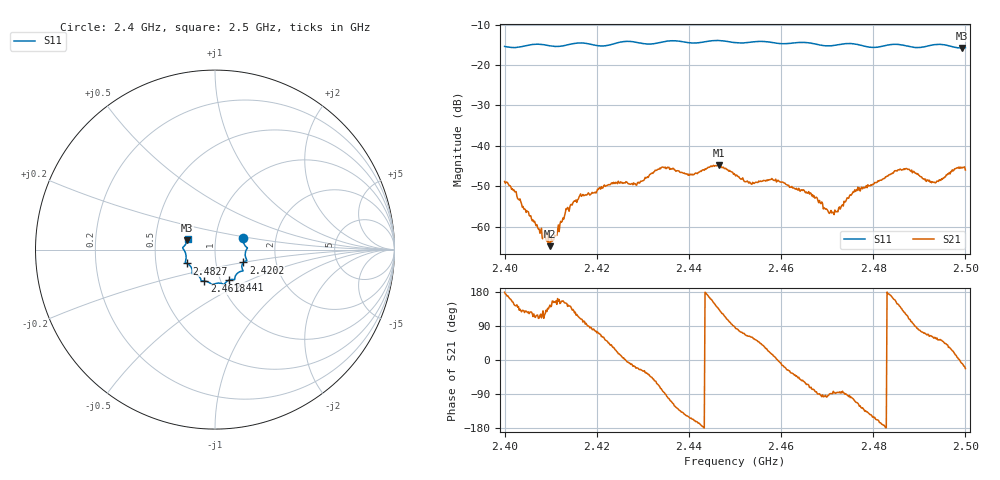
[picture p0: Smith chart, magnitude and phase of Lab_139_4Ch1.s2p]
# Hz S RI R 50
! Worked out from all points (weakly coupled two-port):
!   601 points, 2.4 GHz to 2.5 GHz, reference 50 ohm
!   highest |S21| = -44.73 dB at 2.4465 GHz (marker M1); lowest = -64.8 dB at 2.4098 GHz (marker M2)
!   lowest |S11| = -15.8 dB at 2.4993 GHz (marker M3), VSWR 1.39, Z = 36.5 + j3.84 ohm
!   |S11| at or under -10 dB: start of sweep to end of sweep
!   S12 and S22 are empty: the file has one direction only
!   S11 on the Smith chart (normalised r, x): 2.4 GHz: 1.36, +0.18; 2.4202 GHz: 1.36, -0.20; 2.441 GHz: 1.10, -0.39; 2.4618 GHz: 0.84, -0.30; 2.4827 GHz: 0.72, -0.12; 2.5 GHz: 0.73, +0.09
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2.4e9  0.1581 0.0627  -0.00364 7.22e-05  0 0  0 0
2.409833e9  0.1728 -0.00463  -0.000472 0.000333  0 0  0 0
2.413833e9  0.1721 -0.0476  -0.00138 0.00098  0 0  0 0
2.416667e9  0.1774 -0.0607  -0.000736 0.00227  0 0  0 0
2.420167e9  0.1583 -0.0715  0.000794 0.00281  0 0  0 0
2.428833e9  0.1467 -0.1204  0.00328 -0.00126  0 0  0 0
2.433333e9  0.1118 -0.151  0.00217 -0.00468  0 0  0 0
2.441e9  0.0785 -0.1697  -0.00405 -0.00172  0 0  0 0
2.4465e9  0.049 -0.1949  -0.004 0.00419  0 0  0 0
2.45e9  0.0283 -0.1872  0.000293 0.0044  0 0  0 0
2.4535e9  -0.00422 -0.1921  0.00168 0.00296  0 0  0 0
2.458333e9  -0.0274 -0.187  0.0037 0.000695  0 0  0 0
2.461833e9  -0.0594 -0.1755  0.00271 -0.00147  0 0  0 0
2.466667e9  -0.0785 -0.1681  0.000541 -0.00235  0 0  0 0
2.471833e9  -0.112 -0.1357  5.46e-05 -0.00154  0 0  0 0
2.476167e9  -0.1271 -0.1299  -0.000966 -0.00257  0 0  0 0
2.482667e9  -0.1562 -0.0773  -0.00415 -0.000129  0 0  0 0
2.483333e9  -0.1607 -0.0753  -0.00434 0.000424  0 0  0 0
2.487333e9  -0.1624 -0.0565  -0.0024 0.00463  0 0  0 0
2.493167e9  -0.1783 0.00504  0.00191 0.00298  0 0  0 0
2.499333e9  -0.1539 0.0513  0.00528 -0.000893  0 0  0 0
2.5e9  -0.1522 0.0609  0.00466 -0.00194  0 0  0 0
